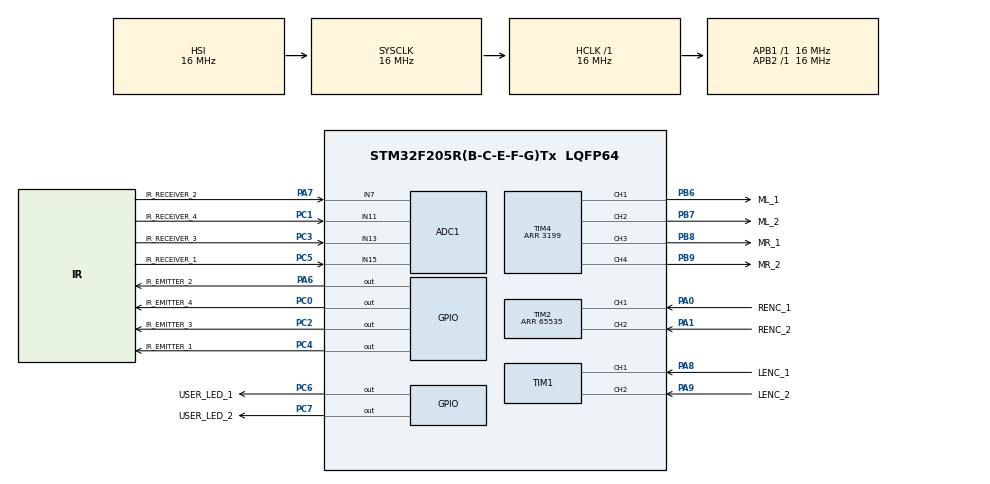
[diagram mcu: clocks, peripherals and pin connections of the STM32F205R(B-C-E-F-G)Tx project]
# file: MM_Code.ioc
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ADC1.Channel-1\#ChannelRegularConversion=ADC_CHANNEL_15
ADC1.ContinuousConvMode=ENABLE
ADC1.DMAContinuousRequests=ENABLE
ADC1.NbrOfConversionFlag=1
ADC1.Rank-1\#ChannelRegularConversion=1
ADC1.SamplingTime-1\#ChannelRegularConversion=ADC_SAMPLETIME_3CYCLES
ADC1.master=1
Dma.ADC1.0.Direction=DMA_PERIPH_TO_MEMORY
Dma.ADC1.0.FIFOMode=DMA_FIFOMODE_DISABLE
Dma.ADC1.0.Instance=DMA2_Stream0
Dma.ADC1.0.MemDataAlignment=DMA_MDATAALIGN_HALFWORD
Dma.ADC1.0.MemInc=DMA_MINC_ENABLE
Dma.ADC1.0.Mode=DMA_CIRCULAR
Dma.ADC1.0.PeriphDataAlignment=DMA_PDATAALIGN_HALFWORD
Dma.ADC1.0.PeriphInc=DMA_PINC_DISABLE
Dma.ADC1.0.Priority=DMA_PRIORITY_LOW
Dma.Request0=ADC1
Mcu.Family=STM32F2
Mcu.Name=STM32F205R(B-C-E-F-G)Tx
Mcu.Package=LQFP64
NVIC.DMA2_Stream0_IRQn=true\:0\:0\:false\:false\:true\:false\:true\:true
NVIC.PriorityGroup=NVIC_PRIORITYGROUP_4
PA0-WKUP.GPIO_Label=RENC_1
PA0-WKUP.Signal=S_TIM2_CH1_ETR
PA1.GPIO_Label=RENC_2
PA1.Signal=S_TIM2_CH2
PA13.Signal=SYS_JTMS-SWDIO
PA14.Signal=SYS_JTCK-SWCLK
PA6.GPIO_Label=IR_EMITTER_2
PA6.Signal=GPIO_Output
PA7.GPIO_Label=IR_RECEIVER_2
PA7.Signal=ADCx_IN7
PA8.GPIO_Label=LENC_1
PA8.Signal=S_TIM1_CH1
PA9.GPIO_Label=LENC_2
PA9.Signal=S_TIM1_CH2
PB6.GPIO_Label=ML_1
PB6.Signal=S_TIM4_CH1
PB7.GPIO_Label=ML_2
PB7.Signal=S_TIM4_CH2
PB8.GPIO_Label=MR_1
PB8.Signal=S_TIM4_CH3
PB9.GPIO_Label=MR_2
PB9.Signal=S_TIM4_CH4
PC0.GPIO_Label=IR_EMITTER_4
PC0.Signal=GPIO_Output
PC1.GPIO_Label=IR_RECEIVER_4
PC1.Signal=ADCx_IN11
PC2.GPIO_Label=IR_EMITTER_3
PC2.Signal=GPIO_Output
PC3.GPIO_Label=IR_RECEIVER_3
PC3.Signal=ADCx_IN13
PC4.GPIO_Label=IR_EMITTER_1
PC4.Signal=GPIO_Output
PC5.GPIO_Label=IR_RECEIVER_1
PC5.Signal=ADCx_IN15
PC6.GPIO_Label=USER_LED_1
PC6.Signal=GPIO_Output
PC7.GPIO_Label=USER_LED_2
PC7.Signal=GPIO_Output
ProjectManager.HeapSize=0x200
ProjectManager.StackSize=0x400
ProjectManager.TargetToolchain=CMake
RCC.48MHZClocksFreq_Value=48000000
RCC.AHBFreq_Value=16000000
RCC.APB1Freq_Value=16000000
RCC.APB2Freq_Value=16000000
RCC.CortexFreq_Value=16000000
RCC.HSE_VALUE=25000000
RCC.HSI_VALUE=16000000
RCC.LSE_VALUE=32768
RCC.SYSCLKFreq_VALUE=16000000
RCC.VCOOutputFreq_Value=192000000
SH.ADCx_IN11.0=ADC1_IN11,IN11
SH.ADCx_IN13.0=ADC1_IN13,IN13
SH.ADCx_IN15.0=ADC1_IN15,IN15
SH.ADCx_IN7.0=ADC1_IN7,IN7
SH.S_TIM1_CH1.0=TIM1_CH1,Encoder_Interface
SH.S_TIM1_CH2.0=TIM1_CH2,Encoder_Interface
SH.S_TIM2_CH1_ETR.0=TIM2_CH1,Encoder_Interface
SH.S_TIM2_CH2.0=TIM2_CH2,Encoder_Interface
SH.S_TIM4_CH1.0=TIM4_CH1,PWM Generation1 CH1
SH.S_TIM4_CH2.0=TIM4_CH2,PWM Generation2 CH2
SH.S_TIM4_CH3.0=TIM4_CH3,PWM Generation3 CH3
SH.S_TIM4_CH4.0=TIM4_CH4,PWM Generation4 CH4
TIM1.EncoderMode=TIM_ENCODERMODE_TI12
TIM2.EncoderMode=TIM_ENCODERMODE_TI12
TIM2.Period=65535
TIM4.Channel-PWM\ Generation1\ CH1=TIM_CHANNEL_1
TIM4.Channel-PWM\ Generation2\ CH2=TIM_CHANNEL_2
TIM4.Channel-PWM\ Generation3\ CH3=TIM_CHANNEL_3
TIM4.Channel-PWM\ Generation4\ CH4=TIM_CHANNEL_4
TIM4.Period=3199
board=custom

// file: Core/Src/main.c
/* USER CODE BEGIN Header */
/**
  ******************************************************************************
  * @file           : main.c
  * @brief          : Main program body
  ******************************************************************************
  * @attention
  *
  * Copyright (c) 2026 STMicroelectronics.
  * All rights reserved.
  *
  * This software is licensed under terms that can be found in the LICENSE file
  * in the root directory of this software component.
  * If no LICENSE file comes with this software, it is provided AS-IS.
  *
  ******************************************************************************
  */
/* USER CODE END Header */
#include "main.h"

/* USER CODE BEGIN Includes */
#include "motors.h"
#include "controller.h"
#include "encoders.h"
#include "irs.h"
#include "walls.h"
#include "solver.h"
#include "delay.h"
#include <stdint.h>

/* USER CODE END Includes */

ADC_HandleTypeDef hadc1;
DMA_HandleTypeDef hdma_adc1;

TIM_HandleTypeDef htim1;
TIM_HandleTypeDef htim2;
TIM_HandleTypeDef htim4;

/* USER CODE BEGIN PV */
volatile uint16_t irLeft;
volatile uint16_t irFront;
volatile uint16_t irRight;

volatile uint16_t leftEncoderCount;
volatile uint16_t rightEncoderCount;

volatile uint8_t motorsEnabled = 1;  /* set to 1 in live watch to enable movement */
/* USER CODE END PV */

void SystemClock_Config(void);
static void MX_GPIO_Init(void);
static void MX_DMA_Init(void);
static void MX_ADC1_Init(void);
static void MX_TIM4_Init(void);
static void MX_TIM1_Init(void);
static void MX_TIM2_Init(void);

int main(void)
{

  /* MCU Configuration--------------------------------------------------------*/

  /* Reset of all peripherals, Initializes the Flash interface and the Systick. */
  HAL_Init();

  /* Configure the system clock */
  SystemClock_Config();

  /* Initialize all configured peripherals */
  MX_GPIO_Init();
  MX_DMA_Init();
  MX_ADC1_Init();
  MX_TIM4_Init();
  MX_TIM1_Init();
  MX_TIM2_Init();
  /* USER CODE BEGIN 2 */
  Delay_Init();
  HAL_TIM_PWM_Start(&htim4, TIM_CHANNEL_1);
  HAL_TIM_PWM_Start(&htim4, TIM_CHANNEL_2);
  HAL_TIM_PWM_Start(&htim4, TIM_CHANNEL_3);
  HAL_TIM_PWM_Start(&htim4, TIM_CHANNEL_4);

  HAL_TIM_Encoder_Start(&htim1, TIM_CHANNEL_ALL);
  HAL_TIM_Encoder_Start(&htim2, TIM_CHANNEL_ALL);

  HAL_Delay(2000);

  // move(1);

  /* USER CODE END 2 */

  /* Infinite loop */
  /* USER CODE BEGIN WHILE */
  while (1)
  {
    // irLeft  = readLeftIR();
    // irFront = readFrontIR();
    // irRight = readRightIR();

    // leftEncoderCount = getLeftEncoderCounts();
    // rightEncoderCount = getRightEncoderCounts();

    if (motorsEnabled) {
        irLeft  = readLeftIR();
        irFront = readFrontIR();
        irRight = readRightIR();
        Action nextMove = solver();
        switch (nextMove) {
            case FORWARD:
                move(1);
                break;
            case LEFT:
                turn(-1);
                break;
            case RIGHT:
                turn(1);
                break;
            case IDLE:
                HAL_GPIO_WritePin(GPIOC, USER_LED_1_Pin, GPIO_PIN_SET);
                break;
        }
    }
    HAL_Delay(150);

    /* USER CODE END WHILE */

  }
}

void SystemClock_Config(void)
{
  RCC_OscInitTypeDef RCC_OscInitStruct = {0};
  RCC_ClkInitTypeDef RCC_ClkInitStruct = {0};

  /** Initializes the RCC Oscillators according to the specified parameters
  * in the RCC_OscInitTypeDef structure.
  */
  RCC_OscInitStruct.OscillatorType = RCC_OSCILLATORTYPE_HSI;
  RCC_OscInitStruct.HSIState = RCC_HSI_ON;
  RCC_OscInitStruct.HSICalibrationValue = RCC_HSICALIBRATION_DEFAULT;
  RCC_OscInitStruct.PLL.PLLState = RCC_PLL_NONE;
  if (HAL_RCC_OscConfig(&RCC_OscInitStruct) != HAL_OK)
  {
    Error_Handler();
  }

  /** Initializes the CPU, AHB and APB buses clocks
  */
  RCC_ClkInitStruct.ClockType = RCC_CLOCKTYPE_HCLK|RCC_CLOCKTYPE_SYSCLK
                              |RCC_CLOCKTYPE_PCLK1|RCC_CLOCKTYPE_PCLK2;
  RCC_ClkInitStruct.SYSCLKSource = RCC_SYSCLKSOURCE_HSI;
  RCC_ClkInitStruct.AHBCLKDivider = RCC_SYSCLK_DIV1;
  RCC_ClkInitStruct.APB1CLKDivider = RCC_HCLK_DIV1;
  RCC_ClkInitStruct.APB2CLKDivider = RCC_HCLK_DIV1;

  if (HAL_RCC_ClockConfig(&RCC_ClkInitStruct, FLASH_LATENCY_0) != HAL_OK)
  {
    Error_Handler();
  }
}

static void MX_ADC1_Init(void)
{

  ADC_ChannelConfTypeDef sConfig = {0};

  /** Configure the global features of the ADC (Clock, Resolution, Data Alignment and number of conversion)
  */
  hadc1.Instance = ADC1;
  hadc1.Init.ClockPrescaler = ADC_CLOCK_SYNC_PCLK_DIV2;
  hadc1.Init.Resolution = ADC_RESOLUTION_12B;
  hadc1.Init.ScanConvMode = DISABLE;
  hadc1.Init.ContinuousConvMode = ENABLE;
  hadc1.Init.DiscontinuousConvMode = DISABLE;
  hadc1.Init.ExternalTrigConvEdge = ADC_EXTERNALTRIGCONVEDGE_NONE;
  hadc1.Init.ExternalTrigConv = ADC_SOFTWARE_START;
  hadc1.Init.DataAlign = ADC_DATAALIGN_RIGHT;
  hadc1.Init.NbrOfConversion = 1;
  hadc1.Init.DMAContinuousRequests = ENABLE;
  hadc1.Init.EOCSelection = ADC_EOC_SINGLE_CONV;
  if (HAL_ADC_Init(&hadc1) != HAL_OK)
  {
    Error_Handler();
  }

  /** Configure for the selected ADC regular channel its corresponding rank in the sequencer and its sample time.
  */
  sConfig.Channel = ADC_CHANNEL_15;
  sConfig.Rank = 1;
  sConfig.SamplingTime = ADC_SAMPLETIME_3CYCLES;
  if (HAL_ADC_ConfigChannel(&hadc1, &sConfig) != HAL_OK)
  {
    Error_Handler();
  }

}

static void MX_TIM1_Init(void)
{

  TIM_Encoder_InitTypeDef sConfig = {0};
  TIM_MasterConfigTypeDef sMasterConfig = {0};

  htim1.Instance = TIM1;
  htim1.Init.Prescaler = 0;
  htim1.Init.CounterMode = TIM_COUNTERMODE_UP;
  htim1.Init.Period = 65535;
  htim1.Init.ClockDivision = TIM_CLOCKDIVISION_DIV1;
  htim1.Init.RepetitionCounter = 0;
  htim1.Init.AutoReloadPreload = TIM_AUTORELOAD_PRELOAD_DISABLE;
  sConfig.EncoderMode = TIM_ENCODERMODE_TI12;
  sConfig.IC1Polarity = TIM_ICPOLARITY_RISING;
  sConfig.IC1Selection = TIM_ICSELECTION_DIRECTTI;
  sConfig.IC1Prescaler = TIM_ICPSC_DIV1;
  sConfig.IC1Filter = 0;
  sConfig.IC2Polarity = TIM_ICPOLARITY_RISING;
  sConfig.IC2Selection = TIM_ICSELECTION_DIRECTTI;
  sConfig.IC2Prescaler = TIM_ICPSC_DIV1;
  sConfig.IC2Filter = 0;
  if (HAL_TIM_Encoder_Init(&htim1, &sConfig) != HAL_OK)
  {
    Error_Handler();
  }
  sMasterConfig.MasterOutputTrigger = TIM_TRGO_RESET;
  sMasterConfig.MasterSlaveMode = TIM_MASTERSLAVEMODE_DISABLE;
  if (HAL_TIMEx_MasterConfigSynchronization(&htim1, &sMasterConfig) != HAL_OK)
  {
    Error_Handler();
  }

}

static void MX_TIM2_Init(void)
{

  TIM_Encoder_InitTypeDef sConfig = {0};
  TIM_MasterConfigTypeDef sMasterConfig = {0};

  htim2.Instance = TIM2;
  htim2.Init.Prescaler = 0;
  htim2.Init.CounterMode = TIM_COUNTERMODE_UP;
  htim2.Init.Period = 65535;
  htim2.Init.ClockDivision = TIM_CLOCKDIVISION_DIV1;
  htim2.Init.AutoReloadPreload = TIM_AUTORELOAD_PRELOAD_DISABLE;
  sConfig.EncoderMode = TIM_ENCODERMODE_TI12;
  sConfig.IC1Polarity = TIM_ICPOLARITY_RISING;
  sConfig.IC1Selection = TIM_ICSELECTION_DIRECTTI;
  sConfig.IC1Prescaler = TIM_ICPSC_DIV1;
  sConfig.IC1Filter = 0;
  sConfig.IC2Polarity = TIM_ICPOLARITY_RISING;
  sConfig.IC2Selection = TIM_ICSELECTION_DIRECTTI;
  sConfig.IC2Prescaler = TIM_ICPSC_DIV1;
  sConfig.IC2Filter = 0;
  if (HAL_TIM_Encoder_Init(&htim2, &sConfig) != HAL_OK)
  {
    Error_Handler();
  }
  sMasterConfig.MasterOutputTrigger = TIM_TRGO_RESET;
  sMasterConfig.MasterSlaveMode = TIM_MASTERSLAVEMODE_DISABLE;
  if (HAL_TIMEx_MasterConfigSynchronization(&htim2, &sMasterConfig) != HAL_OK)
  {
    Error_Handler();
  }

}

static void MX_TIM4_Init(void)
{

  TIM_MasterConfigTypeDef sMasterConfig = {0};
  TIM_OC_InitTypeDef sConfigOC = {0};

  htim4.Instance = TIM4;
  htim4.Init.Prescaler = 0;
  htim4.Init.CounterMode = TIM_COUNTERMODE_UP;
  htim4.Init.Period = 3199;
  htim4.Init.ClockDivision = TIM_CLOCKDIVISION_DIV1;
  htim4.Init.AutoReloadPreload = TIM_AUTORELOAD_PRELOAD_DISABLE;
  if (HAL_TIM_PWM_Init(&htim4) != HAL_OK)
  {
    Error_Handler();
  }
  sMasterConfig.MasterOutputTrigger = TIM_TRGO_RESET;
  sMasterConfig.MasterSlaveMode = TIM_MASTERSLAVEMODE_DISABLE;
  if (HAL_TIMEx_MasterConfigSynchronization(&htim4, &sMasterConfig) != HAL_OK)
  {
    Error_Handler();
  }
  sConfigOC.OCMode = TIM_OCMODE_PWM1;
  sConfigOC.Pulse = 0;
  sConfigOC.OCPolarity = TIM_OCPOLARITY_HIGH;
  sConfigOC.OCFastMode = TIM_OCFAST_DISABLE;
  if (HAL_TIM_PWM_ConfigChannel(&htim4, &sConfigOC, TIM_CHANNEL_1) != HAL_OK)
  {
    Error_Handler();
  }
  if (HAL_TIM_PWM_ConfigChannel(&htim4, &sConfigOC, TIM_CHANNEL_2) != HAL_OK)
  {
    Error_Handler();
  }
  if (HAL_TIM_PWM_ConfigChannel(&htim4, &sConfigOC, TIM_CHANNEL_3) != HAL_OK)
  {
    Error_Handler();
  }
  if (HAL_TIM_PWM_ConfigChannel(&htim4, &sConfigOC, TIM_CHANNEL_4) != HAL_OK)
  {
    Error_Handler();
  }
  HAL_TIM_MspPostInit(&htim4);

}

static void MX_DMA_Init(void)
{

  /* DMA controller clock enable */
  __HAL_RCC_DMA2_CLK_ENABLE();

  /* DMA interrupt init */
  /* DMA2_Stream0_IRQn interrupt configuration */
  HAL_NVIC_SetPriority(DMA2_Stream0_IRQn, 0, 0);
  HAL_NVIC_EnableIRQ(DMA2_Stream0_IRQn);

}

static void MX_GPIO_Init(void)
{
  GPIO_InitTypeDef GPIO_InitStruct = {0};

  /* GPIO Ports Clock Enable */
  __HAL_RCC_GPIOC_CLK_ENABLE();
  __HAL_RCC_GPIOA_CLK_ENABLE();
  __HAL_RCC_GPIOB_CLK_ENABLE();

  /*Configure GPIO pin Output Level */
  HAL_GPIO_WritePin(GPIOC, IR_EMITTER_4_Pin|IR_EMITTER_3_Pin|IR_EMITTER_1_Pin|USER_LED_1_Pin
                          |USER_LED_2_Pin, GPIO_PIN_RESET);

  /*Configure GPIO pin Output Level */
  HAL_GPIO_WritePin(IR_EMITTER_2_GPIO_Port, IR_EMITTER_2_Pin, GPIO_PIN_RESET);

  /*Configure GPIO pins : IR_EMITTER_4_Pin IR_EMITTER_3_Pin IR_EMITTER_1_Pin USER_LED_1_Pin
                           USER_LED_2_Pin */
  GPIO_InitStruct.Pin = IR_EMITTER_4_Pin|IR_EMITTER_3_Pin|IR_EMITTER_1_Pin|USER_LED_1_Pin
                          |USER_LED_2_Pin;
  GPIO_InitStruct.Mode = GPIO_MODE_OUTPUT_PP;
  GPIO_InitStruct.Pull = GPIO_NOPULL;
  GPIO_InitStruct.Speed = GPIO_SPEED_FREQ_LOW;
  HAL_GPIO_Init(GPIOC, &GPIO_InitStruct);

  /*Configure GPIO pin : IR_EMITTER_2_Pin */
  GPIO_InitStruct.Pin = IR_EMITTER_2_Pin;
  GPIO_InitStruct.Mode = GPIO_MODE_OUTPUT_PP;
  GPIO_InitStruct.Pull = GPIO_NOPULL;
  GPIO_InitStruct.Speed = GPIO_SPEED_FREQ_LOW;
  HAL_GPIO_Init(IR_EMITTER_2_GPIO_Port, &GPIO_InitStruct);

}

void Error_Handler(void)
{
  __disable_irq();
  while (1)
  {
  }
}
